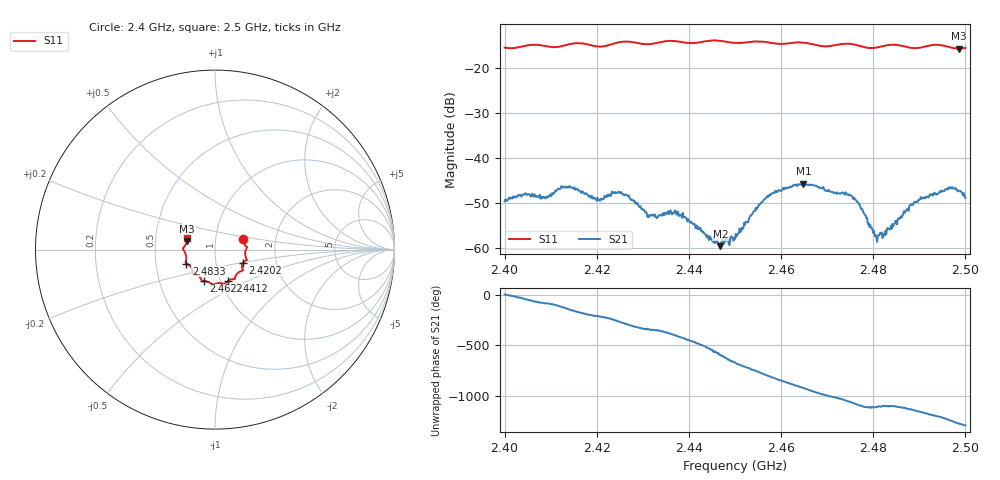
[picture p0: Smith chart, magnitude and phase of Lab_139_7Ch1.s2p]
# Hz S RI R 50
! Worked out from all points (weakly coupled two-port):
!   601 points, 2.4 GHz to 2.5 GHz, reference 50 ohm
!   highest |S21| = -45.67 dB at 2.4648 GHz (marker M1); lowest = -59.5 dB at 2.4468 GHz (marker M2)
!   lowest |S11| = -15.8 dB at 2.4987 GHz (marker M3), VSWR 1.39, Z = 36.4 + j3.37 ohm
!   |S11| at or under -10 dB: start of sweep to end of sweep
!   S12 and S22 are empty: the file has one direction only
!   S11 on the Smith chart (normalised r, x): 2.4 GHz: 1.36, +0.17; 2.4202 GHz: 1.35, -0.20; 2.4412 GHz: 1.09, -0.39; 2.4622 GHz: 0.83, -0.30; 2.4833 GHz: 0.72, -0.12; 2.5 GHz: 0.73, +0.09
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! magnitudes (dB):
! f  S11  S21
! 2.4 GHz  -15.5  -49.6
! 2.4092 GHz  -15.3  -48.5
! 2.4128 GHz  -15.1  -46.4
! 2.4167 GHz  -14.6  -47.7
! 2.4202 GHz  -15.3  -48.8
! 2.425 GHz  -14.3  -47.8
! 2.4333 GHz  -14.4  -52.9
! 2.4372 GHz  -14.1  -51.9
! 2.4412 GHz  -14.5  -54.5
! 2.4468 GHz  -14.1  -59.5
! 2.45 GHz  -14.5  -58.0
! 2.4567 GHz  -14.3  -48.9
! 2.4622 GHz  -14.5  -46.5
! 2.4648 GHz  -14.4  -45.7
! 2.4667 GHz  -14.8  -45.9
! 2.4753 GHz  -14.8  -48.5
! 2.4808 GHz  -15.5  -58.6
! 2.4833 GHz  -15.0  -55.7
! 2.4903 GHz  -15.5  -48.7
! 2.4963 GHz  -15.4  -46.5
! 2.4987 GHz  -15.8  -47.3
! 2.5 GHz  -15.6  -48.8
